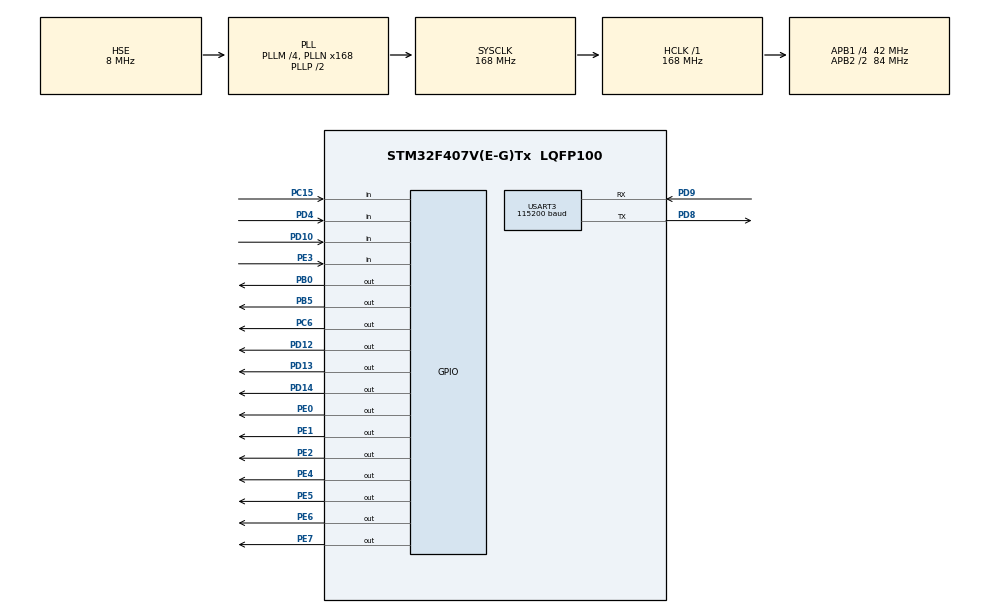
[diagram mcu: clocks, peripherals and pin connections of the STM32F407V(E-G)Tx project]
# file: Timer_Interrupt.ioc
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Mcu.Family=STM32F4
Mcu.Name=STM32F407V(E-G)Tx
Mcu.Package=LQFP100
NVIC.PriorityGroup=NVIC_PRIORITYGROUP_4
NVIC.TIM7_IRQn=true\:0\:0\:false\:false\:true\:true\:true
NVIC.USART3_IRQn=true\:0\:0\:false\:false\:true\:true\:true
PB0.Signal=GPIO_Output
PB5.Signal=GPIO_Output
PC15-OSC32_OUT.Signal=GPIO_Input
PC6.Signal=GPIO_Output
PD10.Signal=GPIO_Input
PD12.Signal=GPIO_Output
PD13.Signal=GPIO_Output
PD14.Signal=GPIO_Output
PD4.Signal=GPIO_Input
PD8.Mode=Asynchronous
PD8.Signal=USART3_TX
PD9.Mode=Asynchronous
PD9.Signal=USART3_RX
PE0.Signal=GPIO_Output
PE1.Signal=GPIO_Output
PE2.Signal=GPIO_Output
PE3.Signal=GPIO_Input
PE4.Signal=GPIO_Output
PE5.Signal=GPIO_Output
PE6.Signal=GPIO_Output
PE7.Signal=GPIO_Output
PH0-OSC_IN.Mode=HSE-External-Oscillator
PH0-OSC_IN.Signal=RCC_OSC_IN
PH1-OSC_OUT.Mode=HSE-External-Oscillator
PH1-OSC_OUT.Signal=RCC_OSC_OUT
ProjectManager.HeapSize=0x200
ProjectManager.StackSize=0x400
ProjectManager.TargetToolchain=TrueSTUDIO
RCC.48MHZClocksFreq_Value=84000000
RCC.AHBFreq_Value=168000000
RCC.APB1CLKDivider=RCC_HCLK_DIV4
RCC.APB1Freq_Value=42000000
RCC.APB1TimFreq_Value=84000000
RCC.APB2CLKDivider=RCC_HCLK_DIV2
RCC.APB2Freq_Value=84000000
RCC.APB2TimFreq_Value=168000000
RCC.CortexFreq_Value=168000000
RCC.HCLKFreq_Value=168000000
RCC.HSE_VALUE=8000000
RCC.HSI_VALUE=16000000
RCC.LSE_VALUE=32768
RCC.PLLM=4
RCC.PLLN=168
RCC.PLLSourceVirtual=RCC_PLLSOURCE_HSE
RCC.SYSCLKFreq_VALUE=168000000
RCC.SYSCLKSource=RCC_SYSCLKSOURCE_PLLCLK
RCC.VCOOutputFreq_Value=336000000
TIM7.AutoReloadPreload=TIM_AUTORELOAD_PRELOAD_ENABLE
TIM7.Period=8399
TIM7.Prescaler=9999
USART3.BaudRate=115200
USART3.VirtualMode=VM_ASYNC
VP_TIM7_VS_ClockSourceINT.Mode=Enable_Timer
board=custom

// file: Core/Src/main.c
/* USER CODE BEGIN Header */
/**
  ******************************************************************************
  * @file           : main.c
  * @brief          : Main program body
  ******************************************************************************
  * @attention
  *
  * <h2><center>&copy; Copyright (c) 2020 STMicroelectronics.
  * All rights reserved.</center></h2>
  *
  * This software component is licensed by ST under BSD 3-Clause license,
  * the "License"; You may not use this file except in compliance with the
  * License. You may obtain a copy of the License at:
  *                        opensource.org/licenses/BSD-3-Clause
  *
  ******************************************************************************
  */
/* USER CODE END Header */
#include "main.h"
#include "tim.h"
#include "usart.h"
#include "gpio.h"

/* USER CODE BEGIN Includes */
#include	<stdio.h>
#include	"7SEG.h"
#include	"CLCD.h"
#include	"init.h"
#include	"util.h"
/* USER CODE END Includes */

/* USER CODE BEGIN PD */
#define	UART_RX_BUF_SIZE	1
#define	UART_TIMEOUT		10
#define	MAX_CNT				100

#define	NUMBER_LEN	3
/* USER CODE END PD */

/* USER CODE BEGIN PV */
uint8_t	uart_rx_buf[UART_RX_BUF_SIZE+1];
/* USER CODE END PV */

void SystemClock_Config(void);

/* USER CODE BEGIN 0 */
int		_write(int file,char* data,int size)
{
	HAL_UART_Transmit(&huart3,data,size,UART_TIMEOUT);

	return	size;
}

void	HAL_TIM_PeriodElapsedCallback(TIM_HandleTypeDef *htim)
{
	static uint8_t	cnt = 0;

	if(htim->Instance == TIM7)
	{
		char	buf[NUMBER_LEN+2];

		HAL_GPIO_TogglePin(GPIOD, GPIO_PIN_12);

		_7SEG_SetNumber(DGT1, cnt/10, OFF);
		_7SEG_SetNumber(DGT2, cnt%10, ON);

		int2str(cnt,buf,NUMBER_LEN);

		buf[NUMBER_LEN] = '\n';
		_write(0,buf,NUMBER_LEN+1);

		cnt = (cnt+1)%MAX_CNT;
	}
}

void	Send_Data_to_UART(UART_HandleTypeDef *huart,int cnt,char int_c)
{
	char	buf[NUMBER_LEN+4];

	buf[0] = '[';
	buf[1] = int_c;
	buf[2] = ']';

	int2str(cnt,&buf[3],NUMBER_LEN);
	buf[NUMBER_LEN+3] = '\n';

	_write(0,buf,NUMBER_LEN+4);
}

void	HAL_UART_RxCpltCallback(UART_HandleTypeDef *huart)
{
	static int	cnt = 0;

	if( huart->Instance == USART3 )
	{
		HAL_UART_Receive_IT(&huart3,uart_rx_buf,UART_RX_BUF_SIZE);
		Send_Data_to_UART(huart,++cnt,uart_rx_buf[0]);
	}
}
/* USER CODE END 0 */

int main(void)
{

  /* MCU Configuration--------------------------------------------------------*/

  /* Reset of all peripherals, Initializes the Flash interface and the Systick. */
  HAL_Init();

  /* Configure the system clock */
  SystemClock_Config();

  /* Initialize all configured peripherals */
  MX_GPIO_Init();
  MX_USART3_UART_Init();
  MX_TIM7_Init();
  /* USER CODE BEGIN 2 */
  LED_Init();
  CLCD_Init();
  _7SEG_GPIO_Init();

  HAL_UART_Receive_IT(&huart3,uart_rx_buf,UART_RX_BUF_SIZE);
  HAL_TIM_Base_Start_IT(&htim7);
  /* USER CODE END 2 */

  /* Infinite loop */
  /* USER CODE BEGIN WHILE */
  while (1)
  {
	static int	t = 0;
	char		buf[100];

	sprintf(buf,"Hello World %03d!!",t++);

	CLCD_Clear();
	CLCD_Puts(0,0,buf);

	HAL_Delay(1000);
	/* USER CODE END WHILE */

  }
}

void SystemClock_Config(void)
{
  RCC_OscInitTypeDef RCC_OscInitStruct = {0};
  RCC_ClkInitTypeDef RCC_ClkInitStruct = {0};

  /** Configure the main internal regulator output voltage
  */
  __HAL_RCC_PWR_CLK_ENABLE();
  __HAL_PWR_VOLTAGESCALING_CONFIG(PWR_REGULATOR_VOLTAGE_SCALE1);
  /** Initializes the RCC Oscillators according to the specified parameters
  * in the RCC_OscInitTypeDef structure.
  */
  RCC_OscInitStruct.OscillatorType = RCC_OSCILLATORTYPE_HSE;
  RCC_OscInitStruct.HSEState = RCC_HSE_ON;
  RCC_OscInitStruct.PLL.PLLState = RCC_PLL_ON;
  RCC_OscInitStruct.PLL.PLLSource = RCC_PLLSOURCE_HSE;
  RCC_OscInitStruct.PLL.PLLM = 4;
  RCC_OscInitStruct.PLL.PLLN = 168;
  RCC_OscInitStruct.PLL.PLLP = RCC_PLLP_DIV2;
  RCC_OscInitStruct.PLL.PLLQ = 4;
  if (HAL_RCC_OscConfig(&RCC_OscInitStruct) != HAL_OK)
  {
    Error_Handler();
  }
  /** Initializes the CPU, AHB and APB buses clocks
  */
  RCC_ClkInitStruct.ClockType = RCC_CLOCKTYPE_HCLK|RCC_CLOCKTYPE_SYSCLK
                              |RCC_CLOCKTYPE_PCLK1|RCC_CLOCKTYPE_PCLK2;
  RCC_ClkInitStruct.SYSCLKSource = RCC_SYSCLKSOURCE_PLLCLK;
  RCC_ClkInitStruct.AHBCLKDivider = RCC_SYSCLK_DIV1;
  RCC_ClkInitStruct.APB1CLKDivider = RCC_HCLK_DIV4;
  RCC_ClkInitStruct.APB2CLKDivider = RCC_HCLK_DIV2;

  if (HAL_RCC_ClockConfig(&RCC_ClkInitStruct, FLASH_LATENCY_5) != HAL_OK)
  {
    Error_Handler();
  }
}

void Error_Handler(void)
{
}

/************************ (C) COPYRIGHT STMicroelectronics *****END OF FILE****/
